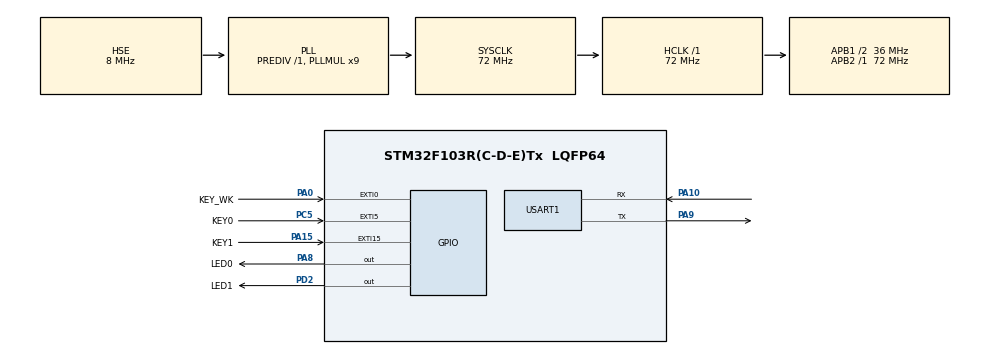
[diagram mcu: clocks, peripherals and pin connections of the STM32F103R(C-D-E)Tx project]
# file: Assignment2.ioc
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IWDG.Prescaler=IWDG_PRESCALER_64
IWDG.Reload=1250
Mcu.Family=STM32F1
Mcu.Name=STM32F103R(C-D-E)Tx
Mcu.Package=LQFP64
NVIC.EXTI0_IRQn=true\:1\:0\:true\:false\:true\:true\:true\:true
NVIC.EXTI15_10_IRQn=true\:1\:2\:true\:false\:true\:true\:true\:true
NVIC.EXTI9_5_IRQn=true\:1\:0\:true\:false\:true\:true\:true\:true
NVIC.PriorityGroup=NVIC_PRIORITYGROUP_2
NVIC.TIM3_IRQn=true\:1\:0\:true\:false\:true\:true\:true\:true
NVIC.USART1_IRQn=true\:1\:1\:true\:false\:true\:true\:true\:true
PA0-WKUP.GPIO_Label=KEY_WK
PA0-WKUP.GPIO_PuPd=GPIO_PULLDOWN
PA0-WKUP.Signal=GPXTI0
PA10.Mode=Asynchronous
PA10.Signal=USART1_RX
PA13.Mode=Serial_Wire
PA13.Signal=SYS_JTMS-SWDIO
PA14.Mode=Serial_Wire
PA14.Signal=SYS_JTCK-SWCLK
PA15.GPIO_Label=KEY1
PA15.GPIO_ModeDefaultEXTI=GPIO_MODE_IT_FALLING
PA15.GPIO_PuPd=GPIO_PULLUP
PA15.Signal=GPXTI15
PA8.GPIO_Label=LED0
PA8.PinState=GPIO_PIN_SET
PA8.Signal=GPIO_Output
PA9.Mode=Asynchronous
PA9.Signal=USART1_TX
PC5.GPIO_Label=KEY0
PC5.GPIO_ModeDefaultEXTI=GPIO_MODE_IT_FALLING
PC5.GPIO_PuPd=GPIO_PULLUP
PC5.Signal=GPXTI5
PD0-OSC_IN.Mode=HSE-External-Oscillator
PD0-OSC_IN.Signal=RCC_OSC_IN
PD1-OSC_OUT.Mode=HSE-External-Oscillator
PD1-OSC_OUT.Signal=RCC_OSC_OUT
PD2.GPIO_Label=LED1
PD2.PinState=GPIO_PIN_SET
PD2.Signal=GPIO_Output
ProjectManager.HeapSize=0x200
ProjectManager.StackSize=0x400
ProjectManager.TargetToolchain=STM32CubeIDE
RCC.AHBFreq_Value=72000000
RCC.APB1CLKDivider=RCC_HCLK_DIV2
RCC.APB1Freq_Value=36000000
RCC.APB1TimFreq_Value=72000000
RCC.APB2Freq_Value=72000000
RCC.APB2TimFreq_Value=72000000
RCC.HCLKFreq_Value=72000000
RCC.PLLMUL=RCC_PLL_MUL9
RCC.PLLSourceVirtual=RCC_PLLSOURCE_HSE
RCC.SYSCLKFreq_VALUE=72000000
RCC.SYSCLKSource=RCC_SYSCLKSOURCE_PLLCLK
RCC.USBFreq_Value=72000000
RTC.Date=18
RTC.Month=RTC_MONTH_NOVEMBER
RTC.WeekDay=RTC_WEEKDAY_SATURDAY
RTC.Year=23
TIM3.Period=9999
TIM3.Prescaler=7199
USART1.VirtualMode=VM_ASYNC
VP_IWDG_VS_IWDG.Mode=IWDG_Activate
VP_RTC_No_RTC_Output.Mode=RTC_OUT_NO
VP_RTC_VS_RTC_Activate.Mode=RTC_Enabled
VP_RTC_VS_RTC_Calendar.Mode=RTC_Calendar
VP_TIM3_VS_ClockSourceINT.Mode=Internal
board=custom

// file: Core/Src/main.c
/* USER CODE BEGIN Header */
/**
  ******************************************************************************
  * @file           : main.c
  * @brief          : Main program body
  ******************************************************************************
  * @attention
  *
  * Copyright (c) 2023 STMicroelectronics.
  * All rights reserved.
  *
  * This software is licensed under terms that can be found in the LICENSE file
  * in the root directory of this software component.
  * If no LICENSE file comes with this software, it is provided AS-IS.
  *
  ******************************************************************************
  */
/* USER CODE END Header */
#include "main.h"
#include "iwdg.h"
#include "rtc.h"
#include "tim.h"
#include "usart.h"
#include "gpio.h"

/* USER CODE BEGIN Includes */
#include <time.h>
/* USER CODE END Includes */

void SystemClock_Config(void);

/* USER CODE BEGIN 0 */
extern UART_HandleTypeDef huart1;
extern uint8_t rxBuffer[20];
extern unsigned char uRx_Data[1024];
extern unsigned char uLength;
extern TIM_HandleTypeDef htim3;
char question[1024];
int qid = 0;
int num1 = 0;
int num2 = 0;
int op = 0;
int tim_cnt = 0;
int game_flag = 0;

RTC_DateTypeDef GetDate;
RTC_TimeTypeDef GetTime;

char get_op(int op) {
    switch (op) {
        case 0:
            return '+';
        case 1:
            return '-';
        case 2:
            return '*';
        case 3:
            return '/';
        default:
            return '\0';
    }
}

int cal(int num1, int num2, int op) {
    switch (op) {
        case 0:
            return num1 + num2;
        case 1:
            return num1 - num2;
        case 2:
            return num1 * num2;
        case 3:
            return num1 / num2;
        default:
            return 0;
    }
}

void generate_question() {
    op = rand() % 4;
    switch (op) {
        case 0:
            do {
                num1 = rand() % 100;
                num2 = rand() % 100;
            } while (num1 + num2 > 100);
            break;
        case 1:
            do {
                num1 = rand() % 100;
                num2 = rand() % 100;
            } while (num1 - num2 < 0);
            break;
        case 2:
            num1 = rand() % 100;
            num2 = rand() % 100;
            break;
        case 3:
            do {
                num1 = rand() % 100;
                num2 = rand() % 100;
            } while (num2 == 0 || num1 % num2 > 0);
            break;
        default:
            break;
    }
    sprintf(question, "%d%c%d=?\n", num1, get_op(op), num2);
}

void start_new_game() {
    game_flag = 1;
    tim_cnt = 0;
    HAL_UART_Transmit(&huart1, (uint8_t *) "Start Game\n", strlen("Start Game\n"), HAL_MAX_DELAY);
    generate_question();
    HAL_UART_Transmit(&huart1, (uint8_t *) question, strlen(question), HAL_MAX_DELAY);
}
/* USER CODE END 0 */

int main(void) {

    /* MCU Configuration--------------------------------------------------------*/

    /* Reset of all peripherals, Initializes the Flash interface and the Systick. */
    HAL_Init();

    /* Configure the system clock */
    SystemClock_Config();

    /* Initialize all configured peripherals */
    MX_GPIO_Init();
    MX_USART1_UART_Init();
    MX_IWDG_Init();
    MX_TIM3_Init();
    MX_RTC_Init();
    /* USER CODE BEGIN 2 */
    struct tm tm_new;
    HAL_RTC_GetTime(&hrtc, &GetTime, RTC_FORMAT_BIN);
    HAL_RTC_GetDate(&hrtc, &GetDate, RTC_FORMAT_BIN);
    tm_new.tm_sec = GetTime.Seconds;
    tm_new.tm_min = GetTime.Minutes;
    tm_new.tm_hour = GetTime.Hours;
    tm_new.tm_mday = GetDate.Date;
    tm_new.tm_mon = GetDate.Month - 1;
    tm_new.tm_year = GetDate.Year + 100;
    srand((unsigned int) mktime(&tm_new));
    HAL_UART_Receive_IT(&huart1, (uint8_t *) rxBuffer, 1);
    HAL_TIM_Base_Start_IT(&htim3);
    if (__HAL_RCC_GET_FLAG(RCC_FLAG_IWDGRST) != RESET) {
        HAL_UART_Transmit(&huart1, (uint8_t *) "[INFO]Time out. Game over. Please press KEY0 to try again.\n",
                          strlen("[INFO]Time out. Game over. Please press KEY0 to try again.\n"), HAL_MAX_DELAY);
        __HAL_RCC_CLEAR_RESET_FLAGS();
    }
    /* USER CODE END 2 */

    /* Infinite loop */
    while (1) {

        /* USER CODE BEGIN 3 */

        HAL_Delay(100);
    }
    /* USER CODE END 3 */
}

void SystemClock_Config(void) {
    RCC_OscInitTypeDef RCC_OscInitStruct = {0};
    RCC_ClkInitTypeDef RCC_ClkInitStruct = {0};
    RCC_PeriphCLKInitTypeDef PeriphClkInit = {0};

    /** Initializes the RCC Oscillators according to the specified parameters
    * in the RCC_OscInitTypeDef structure.
    */
    RCC_OscInitStruct.OscillatorType = RCC_OSCILLATORTYPE_LSI | RCC_OSCILLATORTYPE_HSE;
    RCC_OscInitStruct.HSEState = RCC_HSE_ON;
    RCC_OscInitStruct.HSEPredivValue = RCC_HSE_PREDIV_DIV1;
    RCC_OscInitStruct.HSIState = RCC_HSI_ON;
    RCC_OscInitStruct.LSIState = RCC_LSI_ON;
    RCC_OscInitStruct.PLL.PLLState = RCC_PLL_ON;
    RCC_OscInitStruct.PLL.PLLSource = RCC_PLLSOURCE_HSE;
    RCC_OscInitStruct.PLL.PLLMUL = RCC_PLL_MUL9;
    if (HAL_RCC_OscConfig(&RCC_OscInitStruct) != HAL_OK) {
        Error_Handler();
    }

    /** Initializes the CPU, AHB and APB buses clocks
    */
    RCC_ClkInitStruct.ClockType = RCC_CLOCKTYPE_HCLK | RCC_CLOCKTYPE_SYSCLK
                                  | RCC_CLOCKTYPE_PCLK1 | RCC_CLOCKTYPE_PCLK2;
    RCC_ClkInitStruct.SYSCLKSource = RCC_SYSCLKSOURCE_PLLCLK;
    RCC_ClkInitStruct.AHBCLKDivider = RCC_SYSCLK_DIV1;
    RCC_ClkInitStruct.APB1CLKDivider = RCC_HCLK_DIV2;
    RCC_ClkInitStruct.APB2CLKDivider = RCC_HCLK_DIV1;

    if (HAL_RCC_ClockConfig(&RCC_ClkInitStruct, FLASH_LATENCY_2) != HAL_OK) {
        Error_Handler();
    }
    PeriphClkInit.PeriphClockSelection = RCC_PERIPHCLK_RTC;
    PeriphClkInit.RTCClockSelection = RCC_RTCCLKSOURCE_LSI;
    if (HAL_RCCEx_PeriphCLKConfig(&PeriphClkInit) != HAL_OK) {
        Error_Handler();
    }
}

void Error_Handler(void) {
    __disable_irq();
    while (1) {
    }
}
